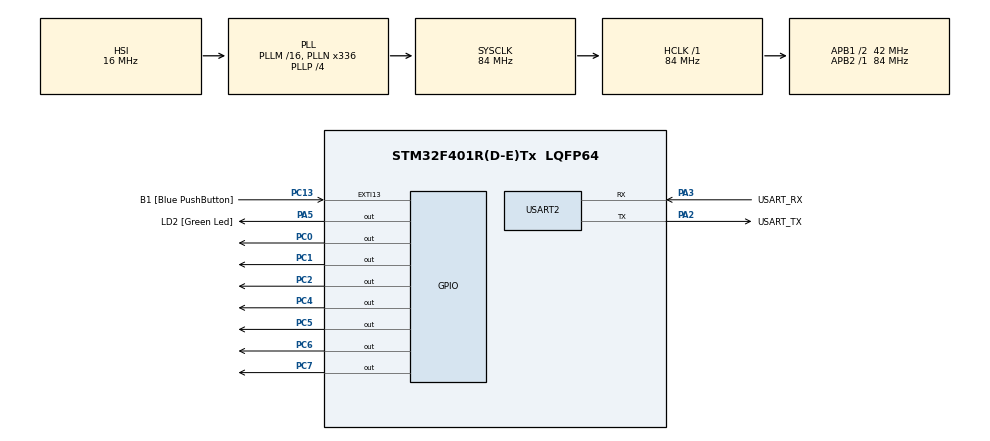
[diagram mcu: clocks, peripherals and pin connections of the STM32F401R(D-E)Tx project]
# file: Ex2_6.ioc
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Mcu.Family=STM32F4
Mcu.Name=STM32F401R(D-E)Tx
Mcu.Package=LQFP64
NVIC.PriorityGroup=NVIC_PRIORITYGROUP_0
PA13.GPIO_Label=TMS
PA13.Mode=Serial_Wire
PA13.Signal=SYS_JTMS-SWDIO
PA14.GPIO_Label=TCK
PA14.Mode=Serial_Wire
PA14.Signal=SYS_JTCK-SWCLK
PA2.GPIO_Label=USART_TX
PA2.GPIO_Mode=GPIO_MODE_AF_PP
PA2.GPIO_PuPd=GPIO_NOPULL
PA2.GPIO_Speed=GPIO_SPEED_FREQ_LOW
PA2.Mode=Asynchronous
PA2.Signal=USART2_TX
PA3.GPIO_Label=USART_RX
PA3.GPIO_Mode=GPIO_MODE_AF_PP
PA3.GPIO_PuPd=GPIO_NOPULL
PA3.GPIO_Speed=GPIO_SPEED_FREQ_LOW
PA3.Mode=Asynchronous
PA3.Signal=USART2_RX
PA5.GPIO_Label=LD2 [Green Led]
PA5.GPIO_Mode=GPIO_MODE_OUTPUT_PP
PA5.GPIO_PuPd=GPIO_NOPULL
PA5.GPIO_Speed=GPIO_SPEED_FREQ_LOW
PA5.Signal=GPIO_Output
PB3.GPIO_Label=SWO
PB3.Signal=SYS_JTDO-SWO
PC0.Signal=GPIO_Output
PC1.Signal=GPIO_Output
PC13-ANTI_TAMP.GPIO_Label=B1 [Blue PushButton]
PC13-ANTI_TAMP.GPIO_ModeDefaultEXTI=GPIO_MODE_IT_FALLING
PC13-ANTI_TAMP.GPIO_PuPd=GPIO_NOPULL
PC13-ANTI_TAMP.Signal=GPXTI13
PC14-OSC32_IN.Mode=LSE-External-Oscillator
PC14-OSC32_IN.Signal=RCC_OSC32_IN
PC15-OSC32_OUT.Mode=LSE-External-Oscillator
PC15-OSC32_OUT.Signal=RCC_OSC32_OUT
PC2.Signal=GPIO_Output
PC4.Signal=GPIO_Output
PC5.Signal=GPIO_Output
PC6.Signal=GPIO_Output
PC7.Signal=GPIO_Output
PH0\ -\ OSC_IN.Mode=HSE-External-Clock-Source
PH0\ -\ OSC_IN.Signal=RCC_OSC_IN
PH1\ -\ OSC_OUT.Mode=HSE-External-Clock-Source
PH1\ -\ OSC_OUT.Signal=RCC_OSC_OUT
ProjectManager.HeapSize=0x200
ProjectManager.StackSize=0x400
ProjectManager.TargetToolchain=STM32CubeIDE
RCC.48MHZClocksFreq_Value=48000000
RCC.AHBFreq_Value=84000000
RCC.APB1CLKDivider=RCC_HCLK_DIV2
RCC.APB1Freq_Value=42000000
RCC.APB1TimFreq_Value=84000000
RCC.APB2Freq_Value=84000000
RCC.APB2TimFreq_Value=84000000
RCC.CortexFreq_Value=84000000
RCC.HCLKFreq_Value=84000000
RCC.HSE_VALUE=8000000
RCC.HSI_VALUE=16000000
RCC.PLLN=336
RCC.PLLP=RCC_PLLP_DIV4
RCC.PLLQ=7
RCC.SYSCLKFreq_VALUE=84000000
RCC.SYSCLKSource=RCC_SYSCLKSOURCE_PLLCLK
RCC.VCOOutputFreq_Value=336000000
USART2.VirtualMode=VM_ASYNC
board=NUCLEO-F401RE

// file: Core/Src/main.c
/* USER CODE BEGIN Header */
/**
  ******************************************************************************
  * @file           : main.c
  * @brief          : Main program body
  ******************************************************************************
  * @attention
  *
  * Copyright (c) 2023 STMicroelectronics.
  * All rights reserved.
  *
  * This software is licensed under terms that can be found in the LICENSE file
  * in the root directory of this software component.
  * If no LICENSE file comes with this software, it is provided AS-IS.
  *
  ******************************************************************************
  */
/* USER CODE END Header */
#include "main.h"

UART_HandleTypeDef huart2;

/* USER CODE BEGIN PV */
uint32_t sec[10] = {
		0x003f00c0,  // 0
		0x000600f9,  // 1
		0x005b00a4,  // 2
		0x004f00b0,  // 3
		0x00660099,  // 4
		0x006d0092,  // 5
		0x007d0082,  // 6
		0x002700d8,  // 7
		0x007f0080,  // 8
		0x006f0090   // 9
};
/* USER CODE END PV */

void SystemClock_Config(void);
static void MX_GPIO_Init(void);
static void MX_USART2_UART_Init(void);

int main(void)
{
  /* USER CODE BEGIN 1 */
  int16_t i;  // 출력되는 숫자
  /* USER CODE END 1 */

  /* MCU Configuration--------------------------------------------------------*/

  /* Reset of all peripherals, Initializes the Flash interface and the Systick. */
  HAL_Init();

  /* Configure the system clock */
  SystemClock_Config();

  /* Initialize all configured peripherals */
  MX_GPIO_Init();
  MX_USART2_UART_Init();

  /* Infinite loop */
  /* USER CODE BEGIN WHILE */
  while (1)
  {
	  for( i = 0 ; i < 10 ; i++ )
	  {
		  GPIOC->BSRR = sec[i];  // BSRR에 각각 LED를 끌 부분과 켤 부분을 설정
		  HAL_Delay(1000);
	  }
    /* USER CODE END WHILE */

  }
}

void SystemClock_Config(void)
{
  RCC_OscInitTypeDef RCC_OscInitStruct = {0};
  RCC_ClkInitTypeDef RCC_ClkInitStruct = {0};

  /** Configure the main internal regulator output voltage
  */
  __HAL_RCC_PWR_CLK_ENABLE();
  __HAL_PWR_VOLTAGESCALING_CONFIG(PWR_REGULATOR_VOLTAGE_SCALE2);

  /** Initializes the RCC Oscillators according to the specified parameters
  * in the RCC_OscInitTypeDef structure.
  */
  RCC_OscInitStruct.OscillatorType = RCC_OSCILLATORTYPE_HSI;
  RCC_OscInitStruct.HSIState = RCC_HSI_ON;
  RCC_OscInitStruct.HSICalibrationValue = RCC_HSICALIBRATION_DEFAULT;
  RCC_OscInitStruct.PLL.PLLState = RCC_PLL_ON;
  RCC_OscInitStruct.PLL.PLLSource = RCC_PLLSOURCE_HSI;
  RCC_OscInitStruct.PLL.PLLM = 16;
  RCC_OscInitStruct.PLL.PLLN = 336;
  RCC_OscInitStruct.PLL.PLLP = RCC_PLLP_DIV4;
  RCC_OscInitStruct.PLL.PLLQ = 7;
  if (HAL_RCC_OscConfig(&RCC_OscInitStruct) != HAL_OK)
  {
    Error_Handler();
  }

  /** Initializes the CPU, AHB and APB buses clocks
  */
  RCC_ClkInitStruct.ClockType = RCC_CLOCKTYPE_HCLK|RCC_CLOCKTYPE_SYSCLK
                              |RCC_CLOCKTYPE_PCLK1|RCC_CLOCKTYPE_PCLK2;
  RCC_ClkInitStruct.SYSCLKSource = RCC_SYSCLKSOURCE_PLLCLK;
  RCC_ClkInitStruct.AHBCLKDivider = RCC_SYSCLK_DIV1;
  RCC_ClkInitStruct.APB1CLKDivider = RCC_HCLK_DIV2;
  RCC_ClkInitStruct.APB2CLKDivider = RCC_HCLK_DIV1;

  if (HAL_RCC_ClockConfig(&RCC_ClkInitStruct, FLASH_LATENCY_2) != HAL_OK)
  {
    Error_Handler();
  }
}

static void MX_USART2_UART_Init(void)
{

  huart2.Instance = USART2;
  huart2.Init.BaudRate = 115200;
  huart2.Init.WordLength = UART_WORDLENGTH_8B;
  huart2.Init.StopBits = UART_STOPBITS_1;
  huart2.Init.Parity = UART_PARITY_NONE;
  huart2.Init.Mode = UART_MODE_TX_RX;
  huart2.Init.HwFlowCtl = UART_HWCONTROL_NONE;
  huart2.Init.OverSampling = UART_OVERSAMPLING_16;
  if (HAL_UART_Init(&huart2) != HAL_OK)
  {
    Error_Handler();
  }

}

static void MX_GPIO_Init(void)
{
  GPIO_InitTypeDef GPIO_InitStruct = {0};

  /* GPIO Ports Clock Enable */
  __HAL_RCC_GPIOC_CLK_ENABLE();
  __HAL_RCC_GPIOH_CLK_ENABLE();
  __HAL_RCC_GPIOA_CLK_ENABLE();
  __HAL_RCC_GPIOB_CLK_ENABLE();

  /*Configure GPIO pin Output Level */
  HAL_GPIO_WritePin(GPIOC, GPIO_PIN_0|GPIO_PIN_1|GPIO_PIN_2|GPIO_PIN_4
                          |GPIO_PIN_5|GPIO_PIN_6|GPIO_PIN_7, GPIO_PIN_RESET);

  /*Configure GPIO pin Output Level */
  HAL_GPIO_WritePin(LD2_GPIO_Port, LD2_Pin, GPIO_PIN_RESET);

  /*Configure GPIO pin : B1_Pin */
  GPIO_InitStruct.Pin = B1_Pin;
  GPIO_InitStruct.Mode = GPIO_MODE_IT_FALLING;
  GPIO_InitStruct.Pull = GPIO_NOPULL;
  HAL_GPIO_Init(B1_GPIO_Port, &GPIO_InitStruct);

  /*Configure GPIO pins : PC0 PC1 PC2 PC4
                           PC5 PC6 PC7 */
  GPIO_InitStruct.Pin = GPIO_PIN_0|GPIO_PIN_1|GPIO_PIN_2|GPIO_PIN_4
                          |GPIO_PIN_5|GPIO_PIN_6|GPIO_PIN_7;
  GPIO_InitStruct.Mode = GPIO_MODE_OUTPUT_PP;
  GPIO_InitStruct.Pull = GPIO_NOPULL;
  GPIO_InitStruct.Speed = GPIO_SPEED_FREQ_LOW;
  HAL_GPIO_Init(GPIOC, &GPIO_InitStruct);

  /*Configure GPIO pin : LD2_Pin */
  GPIO_InitStruct.Pin = LD2_Pin;
  GPIO_InitStruct.Mode = GPIO_MODE_OUTPUT_PP;
  GPIO_InitStruct.Pull = GPIO_NOPULL;
  GPIO_InitStruct.Speed = GPIO_SPEED_FREQ_LOW;
  HAL_GPIO_Init(LD2_GPIO_Port, &GPIO_InitStruct);

}

void Error_Handler(void)
{
  __disable_irq();
  while (1)
  {
  }
}
